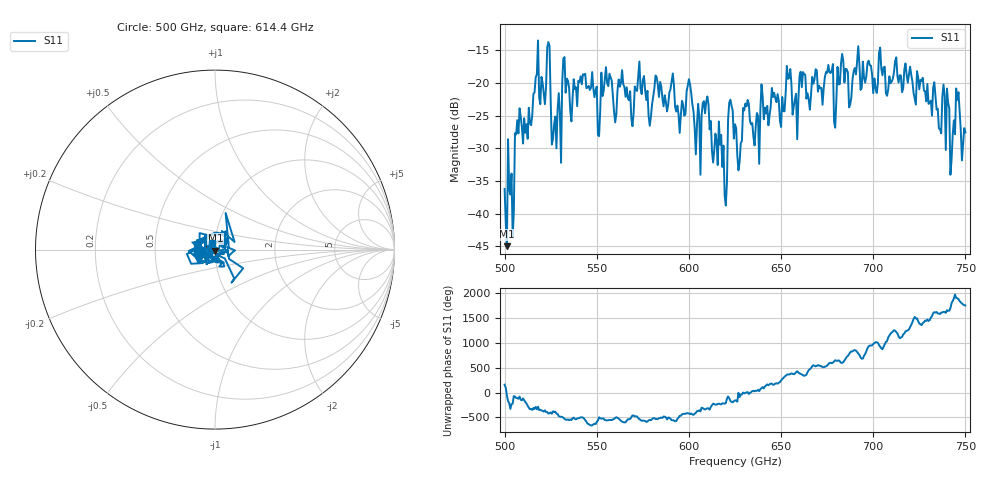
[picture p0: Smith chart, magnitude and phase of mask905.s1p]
!Created with skrf (http://scikit-rf.org).
# GHz S MA R 50.0
!freq magS11 angS11
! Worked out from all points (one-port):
!   401 points, 500 GHz to 750 GHz, reference 50 ohm
!   lowest |S11| = -45.0 dB at 501.2 GHz (marker M1), VSWR 1.01, Z = 50.3 - j0.507 ohm
!   |S11| at or under -10 dB: start of sweep to end of sweep
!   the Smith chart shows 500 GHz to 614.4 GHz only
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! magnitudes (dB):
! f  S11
! 500 GHz  -36.2
! 501.2 GHz  -45.0
! 503.8 GHz  -33.8
! 506.9 GHz  -25.7
! 513.8 GHz  -26.2
! 516.9 GHz  -19.1
! 523.8 GHz  -13.7
! 526.9 GHz  -26.3
! 531.2 GHz  -19.9
! 562.5 GHz  -20.5
! 579.4 GHz  -25.1
! 590.6 GHz  -19.7
! 593.8 GHz  -23.4
! 600 GHz  -19.4
! 605 GHz  -23.2
! 609.4 GHz  -22.9
! 619.4 GHz  -37.2
! 622.5 GHz  -22.5
! 625 GHz  -26.3
! 627.5 GHz  -32.1
! 656.2 GHz  -24.8
! 676.9 GHz  -18.5
! 680 GHz  -22.6
! 683.8 GHz  -16.6
! 687.5 GHz  -23.3
! 691.2 GHz  -16.7
! 718.8 GHz  -19.9
! 750 GHz  -27.5
